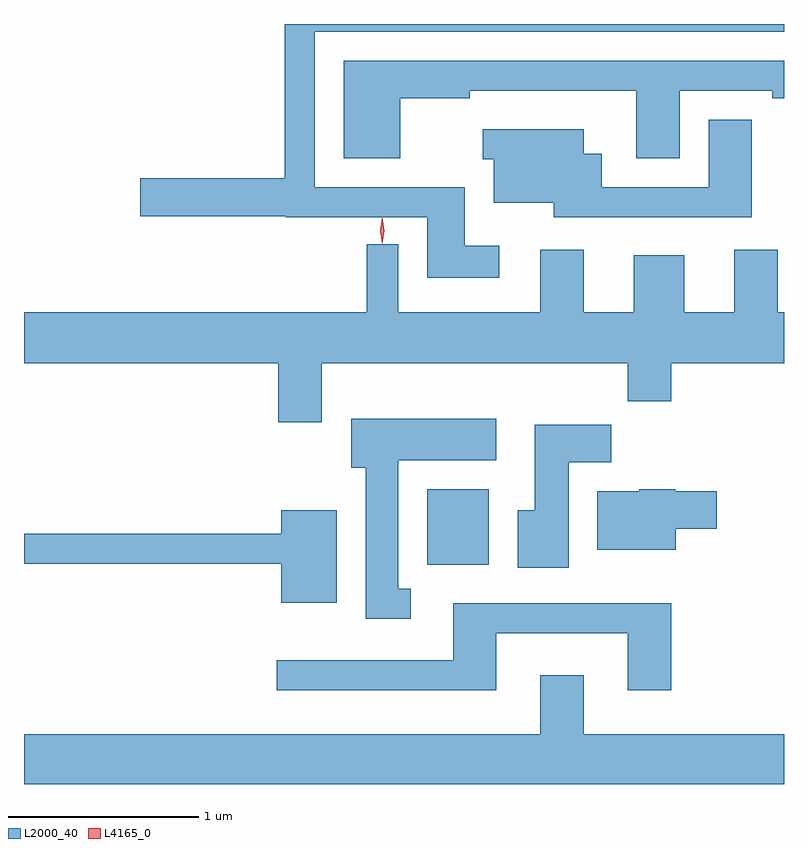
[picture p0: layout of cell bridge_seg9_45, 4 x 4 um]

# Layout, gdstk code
import gdstk
lib = gdstk.Library(unit=1e-6, precision=1e-09)
def R(c, l, rs):  # rectangles x0, y0, x1, y1
    for r in rs: c.add(gdstk.rectangle(r[:2], r[2:], *l))
def P(c, l, *ps):  # polygons
    for p in ps: c.add(gdstk.Polygon(p, *l))
L2000_40 = (2000, 40)
L4165_0 = (4165, 0)

bridge_seg9_45 = lib.new_cell('bridge_seg9_45')
R(bridge_seg9_45, L2000_40, [(1700.106,1986.316,1700.429,1986.714)])
P(bridge_seg9_45, L2000_40, [(1700.483,1987.994),(1700.304,1987.994),(1700.304,1988.304),(1699.514,1988.304),(1699.514,1989.121),(1701.983,1989.121),(1701.983,1989.162),(1699.356,1989.162),(1699.356,1988.349),(1698.596,1988.349),(1698.596,1988.151),(1699.36,1988.151),(1699.36,1988.146),(1700.106,1988.146),(1700.106,1987.826),(1700.483,1987.826)],
  [(1699.964,1988.771),(1700.329,1988.771),(1700.329,1988.811),(1701.206,1988.811),(1701.206,1988.456),(1701.434,1988.456),(1701.434,1988.811),(1701.921,1988.811),(1701.921,1988.771),(1701.983,1988.771),(1701.983,1988.969),(1699.666,1988.969),(1699.666,1988.456),(1699.964,1988.456)],
  [(1701.814,1988.659),(1701.586,1988.659),(1701.586,1988.304),(1701.024,1988.304),(1701.024,1988.479),(1700.929,1988.479),(1700.929,1988.609),(1700.398,1988.609),(1700.398,1988.451),(1700.456,1988.451),(1700.456,1988.221),(1700.771,1988.221),(1700.771,1988.146),(1701.814,1988.146)],
  [(1699.549,1987.376),(1701.161,1987.376),(1701.161,1987.176),(1701.389,1987.176),(1701.389,1987.376),(1701.983,1987.376),(1701.983,1987.644),(1701.949,1987.644),(1701.949,1987.974),(1701.721,1987.974),(1701.721,1987.644),(1701.459,1987.644),(1701.459,1987.944),(1701.191,1987.944),(1701.191,1987.644),(1700.929,1987.644),(1700.929,1987.974),(1700.701,1987.974),(1700.701,1987.644),(1699.954,1987.644),(1699.954,1988.003),(1699.786,1988.003),(1699.786,1987.644),(1697.983,1987.644),(1697.983,1987.376),(1699.321,1987.376),(1699.321,1987.066),(1699.549,1987.066)],
  [(1700.018,1986.189),(1699.954,1986.189),(1699.954,1986.866),(1700.469,1986.866),(1700.469,1987.084),(1699.706,1987.084),(1699.706,1986.826),(1699.781,1986.826),(1699.781,1986.031),(1700.018,1986.031)],
  [(1700.849,1986.856),(1701.074,1986.856),(1701.074,1987.054),(1700.671,1987.054),(1700.671,1986.604),(1700.581,1986.604),(1700.581,1986.301),(1700.849,1986.301)],
  [(1701.414,1986.506),(1701.629,1986.506),(1701.629,1986.704),(1701.41,1986.704),(1701.41,1986.714),(1701.22,1986.714),(1701.22,1986.704),(1701.001,1986.704),(1701.001,1986.396),(1701.414,1986.396)],
  [(1699.629,1986.604),(1699.336,1986.604),(1699.336,1986.479),(1697.983,1986.479),(1697.983,1986.321),(1699.336,1986.321),(1699.336,1986.116),(1699.629,1986.116)],
  [(1700.469,1985.956),(1701.161,1985.956),(1701.161,1985.656),(1701.389,1985.656),(1701.389,1986.114),(1700.241,1986.114),(1700.241,1985.814),(1699.313,1985.814),(1699.313,1985.656),(1700.469,1985.656)],
  [(1701.983,1985.424),(1700.929,1985.424),(1700.929,1985.734),(1700.701,1985.734),(1700.701,1985.424),(1697.983,1985.424),(1697.983,1985.162),(1701.983,1985.162)])
P(bridge_seg9_45, L4165_0, [(1699.868,1988.004),(1699.868,1988.005),(1699.858,1988.074),(1699.868,1988.144),(1699.868,1988.144),(1699.869,1988.144),(1699.878,1988.074),(1699.869,1988.005)])

lib.write_gds('bridge_seg9_45.gds')
